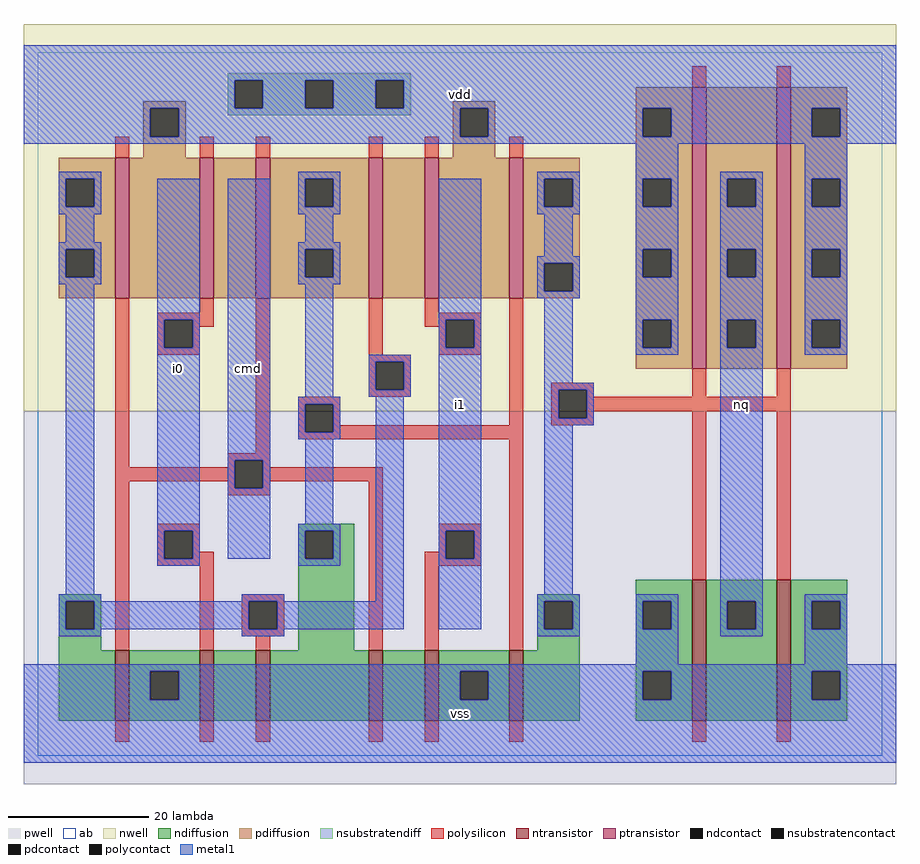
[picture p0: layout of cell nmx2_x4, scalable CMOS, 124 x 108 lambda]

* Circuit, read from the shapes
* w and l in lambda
.subckt nmx2_x4 cmd i0 i1 nq vdd vss
M1 vss cmd n1 VSUBS nfet w=10 l=2
M2 n2 i0 vss VSUBS nfet w=10 l=2
M3 n3 n1 n2 VSUBS nfet w=10 l=2
M4 n4 cmd n3 VSUBS nfet w=10 l=2
M5 vss i1 n4 VSUBS nfet w=10 l=2
M6 n5 n3 vss VSUBS nfet w=10 l=2
M7 nq n5 vss VSUBS nfet w=20 l=2 m=2
M8 vdd cmd n1 vdd pfet w=20 l=2
M9 n6 i0 vdd vdd pfet w=20 l=2
M10 n3 cmd n6 vdd pfet w=20 l=2
M11 n7 n1 n3 vdd pfet w=20 l=2
M12 vdd i1 n7 vdd pfet w=20 l=2
M13 n5 n3 vdd vdd pfet w=20 l=2
M14 nq n5 vdd vdd pfet w=40 l=2 m=2
.ends

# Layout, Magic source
magic
tech scmos
<< ab >>
rect 0 0 120 100
<< pwell >>
rect -2 -4 122 49
<< nwell >>
rect -2 49 122 104
<< polysilicon >>
rect 93 95 95 98
rect 105 95 107 98
rect 11 85 13 88
rect 23 85 25 88
rect 31 85 33 88
rect 47 85 49 88
rect 55 85 57 88
rect 67 85 69 88
rect 11 41 13 65
rect 23 63 25 65
rect 17 62 25 63
rect 17 58 18 62
rect 22 61 25 62
rect 22 58 23 61
rect 17 57 23 58
rect 31 43 33 65
rect 47 57 49 65
rect 55 63 57 65
rect 55 62 63 63
rect 55 61 58 62
rect 57 58 58 61
rect 62 58 63 62
rect 57 57 63 58
rect 47 56 53 57
rect 47 52 48 56
rect 52 52 53 56
rect 47 51 53 52
rect 37 50 43 51
rect 37 46 38 50
rect 42 47 43 50
rect 67 47 69 65
rect 73 52 79 53
rect 73 48 74 52
rect 78 51 79 52
rect 93 51 95 55
rect 105 51 107 55
rect 78 49 107 51
rect 78 48 79 49
rect 73 47 79 48
rect 42 46 69 47
rect 37 45 69 46
rect 27 42 33 43
rect 27 41 28 42
rect 11 39 28 41
rect 11 15 13 39
rect 27 38 28 39
rect 32 41 33 42
rect 32 39 49 41
rect 32 38 33 39
rect 27 37 33 38
rect 17 32 23 33
rect 17 28 18 32
rect 22 29 23 32
rect 22 28 25 29
rect 17 27 25 28
rect 23 15 25 27
rect 29 22 35 23
rect 29 18 30 22
rect 34 18 35 22
rect 29 17 35 18
rect 31 15 33 17
rect 47 15 49 39
rect 57 32 63 33
rect 57 29 58 32
rect 55 28 58 29
rect 62 28 63 32
rect 55 27 63 28
rect 55 15 57 27
rect 67 15 69 45
rect 93 25 95 49
rect 105 25 107 49
rect 11 2 13 5
rect 23 2 25 5
rect 31 2 33 5
rect 47 2 49 5
rect 55 2 57 5
rect 67 2 69 5
rect 93 2 95 5
rect 105 2 107 5
<< ndiffusion >>
rect 3 22 9 23
rect 3 18 4 22
rect 8 18 9 22
rect 3 15 9 18
rect 37 32 45 33
rect 37 28 38 32
rect 42 28 45 32
rect 37 15 45 28
rect 71 22 77 23
rect 71 18 72 22
rect 76 18 77 22
rect 71 15 77 18
rect 3 5 11 15
rect 13 12 23 15
rect 13 8 16 12
rect 20 8 23 12
rect 13 5 23 8
rect 25 5 31 15
rect 33 5 47 15
rect 49 5 55 15
rect 57 12 67 15
rect 57 8 60 12
rect 64 8 67 12
rect 57 5 67 8
rect 69 5 77 15
rect 85 22 93 25
rect 85 18 86 22
rect 90 18 93 22
rect 85 12 93 18
rect 85 8 86 12
rect 90 8 93 12
rect 85 5 93 8
rect 95 22 105 25
rect 95 18 98 22
rect 102 18 105 22
rect 95 5 105 18
rect 107 22 115 25
rect 107 18 110 22
rect 114 18 115 22
rect 107 12 115 18
rect 107 8 110 12
rect 114 8 115 12
rect 107 5 115 8
<< pdiffusion >>
rect 15 92 21 93
rect 15 88 16 92
rect 20 88 21 92
rect 59 92 65 93
rect 59 88 60 92
rect 64 88 65 92
rect 85 92 93 95
rect 85 88 86 92
rect 90 88 93 92
rect 15 85 21 88
rect 59 85 65 88
rect 3 82 11 85
rect 3 78 4 82
rect 8 78 11 82
rect 3 72 11 78
rect 3 68 4 72
rect 8 68 11 72
rect 3 65 11 68
rect 13 65 23 85
rect 25 65 31 85
rect 33 82 47 85
rect 33 78 38 82
rect 42 78 47 82
rect 33 72 47 78
rect 33 68 38 72
rect 42 68 47 72
rect 33 65 47 68
rect 49 65 55 85
rect 57 65 67 85
rect 69 82 77 85
rect 69 78 72 82
rect 76 78 77 82
rect 69 70 77 78
rect 69 66 72 70
rect 76 66 77 70
rect 69 65 77 66
rect 85 82 93 88
rect 85 78 86 82
rect 90 78 93 82
rect 85 72 93 78
rect 85 68 86 72
rect 90 68 93 72
rect 85 62 93 68
rect 85 58 86 62
rect 90 58 93 62
rect 85 55 93 58
rect 95 82 105 95
rect 95 78 98 82
rect 102 78 105 82
rect 95 72 105 78
rect 95 68 98 72
rect 102 68 105 72
rect 95 62 105 68
rect 95 58 98 62
rect 102 58 105 62
rect 95 55 105 58
rect 107 92 115 95
rect 107 88 110 92
rect 114 88 115 92
rect 107 82 115 88
rect 107 78 110 82
rect 114 78 115 82
rect 107 72 115 78
rect 107 68 110 72
rect 114 68 115 72
rect 107 62 115 68
rect 107 58 110 62
rect 114 58 115 62
rect 107 55 115 58
<< metal1 >>
rect -2 96 122 101
rect -2 92 28 96
rect 32 92 38 96
rect 42 92 48 96
rect 52 92 122 96
rect -2 88 16 92
rect 20 88 60 92
rect 64 88 86 92
rect 90 88 110 92
rect 114 88 122 92
rect -2 87 122 88
rect 3 82 9 83
rect 37 82 43 83
rect 71 82 77 83
rect 3 78 4 82
rect 8 78 9 82
rect 3 77 9 78
rect 4 73 8 77
rect 3 72 9 73
rect 3 68 4 72
rect 8 68 9 72
rect 3 67 9 68
rect 4 23 8 67
rect 17 62 23 82
rect 17 58 18 62
rect 22 58 23 62
rect 17 32 23 58
rect 17 28 18 32
rect 22 28 23 32
rect 27 42 33 82
rect 37 78 38 82
rect 42 78 43 82
rect 37 77 43 78
rect 38 73 42 77
rect 37 72 43 73
rect 37 68 38 72
rect 42 68 43 72
rect 37 67 43 68
rect 38 51 42 67
rect 57 62 63 82
rect 71 78 72 82
rect 76 78 77 82
rect 71 77 77 78
rect 85 82 91 87
rect 85 78 86 82
rect 90 78 91 82
rect 72 71 76 77
rect 85 72 91 78
rect 71 70 77 71
rect 71 66 72 70
rect 76 66 77 70
rect 71 65 77 66
rect 85 68 86 72
rect 90 68 91 72
rect 57 58 58 62
rect 62 58 63 62
rect 47 56 53 57
rect 47 52 48 56
rect 52 52 53 56
rect 47 51 53 52
rect 37 50 43 51
rect 37 46 38 50
rect 42 46 43 50
rect 37 45 43 46
rect 27 38 28 42
rect 32 38 33 42
rect 27 28 33 38
rect 38 33 42 45
rect 37 32 43 33
rect 37 28 38 32
rect 42 28 43 32
rect 17 27 23 28
rect 37 27 43 28
rect 3 22 9 23
rect 29 22 35 23
rect 48 22 52 51
rect 3 18 4 22
rect 8 18 30 22
rect 34 18 52 22
rect 57 32 63 58
rect 57 28 58 32
rect 62 28 63 32
rect 57 18 63 28
rect 72 53 76 65
rect 85 62 91 68
rect 85 58 86 62
rect 90 58 91 62
rect 85 57 91 58
rect 97 82 103 83
rect 97 78 98 82
rect 102 78 103 82
rect 97 72 103 78
rect 97 68 98 72
rect 102 68 103 72
rect 97 62 103 68
rect 97 58 98 62
rect 102 58 103 62
rect 72 52 79 53
rect 72 48 74 52
rect 78 48 79 52
rect 72 47 79 48
rect 72 23 76 47
rect 71 22 77 23
rect 71 18 72 22
rect 76 18 77 22
rect 3 17 9 18
rect 29 17 35 18
rect 71 17 77 18
rect 85 22 91 23
rect 85 18 86 22
rect 90 18 91 22
rect 85 13 91 18
rect 97 22 103 58
rect 109 82 115 87
rect 109 78 110 82
rect 114 78 115 82
rect 109 72 115 78
rect 109 68 110 72
rect 114 68 115 72
rect 109 62 115 68
rect 109 58 110 62
rect 114 58 115 62
rect 109 57 115 58
rect 97 18 98 22
rect 102 18 103 22
rect 97 17 103 18
rect 109 22 115 23
rect 109 18 110 22
rect 114 18 115 22
rect 109 13 115 18
rect -2 12 122 13
rect -2 8 16 12
rect 20 8 60 12
rect 64 8 86 12
rect 90 8 110 12
rect 114 8 122 12
rect -2 -1 122 8
<< ntransistor >>
rect 11 5 13 15
rect 23 5 25 15
rect 31 5 33 15
rect 47 5 49 15
rect 55 5 57 15
rect 67 5 69 15
rect 93 5 95 25
rect 105 5 107 25
<< ptransistor >>
rect 11 65 13 85
rect 23 65 25 85
rect 31 65 33 85
rect 47 65 49 85
rect 55 65 57 85
rect 67 65 69 85
rect 93 55 95 95
rect 105 55 107 95
<< polycontact >>
rect 18 58 22 62
rect 58 58 62 62
rect 48 52 52 56
rect 38 46 42 50
rect 74 48 78 52
rect 28 38 32 42
rect 18 28 22 32
rect 30 18 34 22
rect 58 28 62 32
<< ndcontact >>
rect 4 18 8 22
rect 38 28 42 32
rect 72 18 76 22
rect 16 8 20 12
rect 60 8 64 12
rect 86 18 90 22
rect 86 8 90 12
rect 98 18 102 22
rect 110 18 114 22
rect 110 8 114 12
<< pdcontact >>
rect 16 88 20 92
rect 60 88 64 92
rect 86 88 90 92
rect 4 78 8 82
rect 4 68 8 72
rect 38 78 42 82
rect 38 68 42 72
rect 72 78 76 82
rect 72 66 76 70
rect 86 78 90 82
rect 86 68 90 72
rect 86 58 90 62
rect 98 78 102 82
rect 98 68 102 72
rect 98 58 102 62
rect 110 88 114 92
rect 110 78 114 82
rect 110 68 114 72
rect 110 58 114 62
<< nsubstratencontact >>
rect 28 92 32 96
rect 38 92 42 96
rect 48 92 52 96
<< nsubstratendiff >>
rect 27 96 53 97
rect 27 92 28 96
rect 32 92 38 96
rect 42 92 48 96
rect 52 92 53 96
rect 27 91 53 92
<< labels >>
rlabel metal1 20 55 20 55 6 i0
rlabel metal1 20 55 20 55 6 i0
rlabel metal1 30 55 30 55 6 cmd
rlabel metal1 30 55 30 55 6 cmd
rlabel metal1 60 6 60 6 6 vss
rlabel metal1 60 6 60 6 6 vss
rlabel metal1 60 50 60 50 6 i1
rlabel metal1 60 50 60 50 6 i1
rlabel metal1 60 94 60 94 6 vdd
rlabel metal1 60 94 60 94 6 vdd
rlabel metal1 100 50 100 50 6 nq
rlabel metal1 100 50 100 50 6 nq
<< end >>
